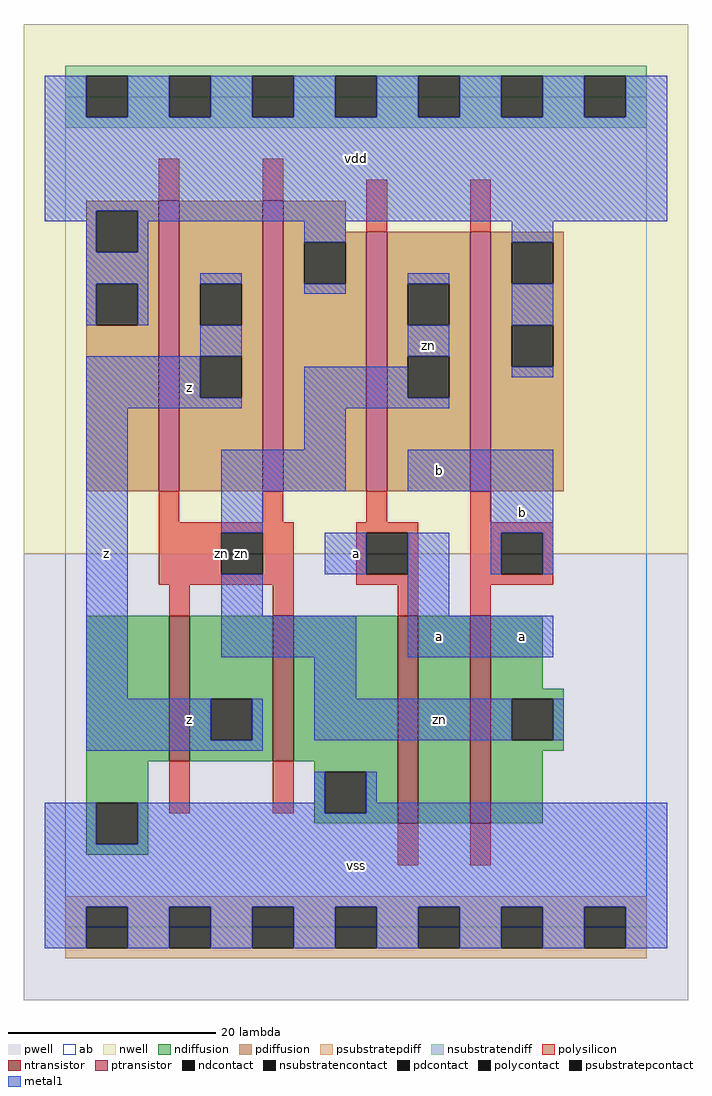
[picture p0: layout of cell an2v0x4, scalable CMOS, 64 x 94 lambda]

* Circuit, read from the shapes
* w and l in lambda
.subckt an2v0x4 a b vdd vss z zn
M1 z zn vss vss nfet w=14 l=2 m=2
M2 n1 a vss vss nfet w=20 l=2
M3 zn b n1 vss nfet w=20 l=2
M4 z zn vdd vdd pfet w=28 l=2 m=2
M5 zn a vdd vdd pfet w=25 l=2
M6 vdd b zn vdd pfet w=25 l=2
.ends

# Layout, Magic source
magic
tech scmos
<< ab >>
rect 0 0 56 80
<< pwell >>
rect -4 -7 60 36
<< nwell >>
rect -4 36 60 87
<< polysilicon >>
rect 9 70 11 74
rect 19 70 21 74
rect 29 67 31 72
rect 39 67 41 72
rect 9 39 11 42
rect 19 39 21 42
rect 29 39 31 42
rect 39 39 41 42
rect 9 38 22 39
rect 9 34 15 38
rect 19 34 22 38
rect 9 33 22 34
rect 28 38 34 39
rect 28 34 29 38
rect 33 34 34 38
rect 28 33 34 34
rect 10 30 12 33
rect 20 30 22 33
rect 32 30 34 33
rect 39 38 47 39
rect 39 34 42 38
rect 46 34 47 38
rect 39 33 47 34
rect 39 30 41 33
rect 10 11 12 16
rect 20 11 22 16
rect 32 6 34 10
rect 39 6 41 10
<< ndiffusion >>
rect 2 16 10 30
rect 12 22 20 30
rect 12 18 14 22
rect 18 18 20 22
rect 12 16 20 18
rect 22 16 32 30
rect 2 12 8 16
rect 2 8 3 12
rect 7 8 8 12
rect 24 15 32 16
rect 24 11 25 15
rect 29 11 32 15
rect 24 10 32 11
rect 34 10 39 30
rect 41 23 46 30
rect 41 22 48 23
rect 41 18 43 22
rect 47 18 48 22
rect 41 17 48 18
rect 41 10 46 17
rect 2 7 8 8
<< pdiffusion >>
rect 2 69 9 70
rect 2 65 3 69
rect 7 65 9 69
rect 2 62 9 65
rect 2 58 3 62
rect 7 58 9 62
rect 2 42 9 58
rect 11 62 19 70
rect 11 58 13 62
rect 17 58 19 62
rect 11 55 19 58
rect 11 51 13 55
rect 17 51 19 55
rect 11 42 19 51
rect 21 67 27 70
rect 21 66 29 67
rect 21 62 23 66
rect 27 62 29 66
rect 21 42 29 62
rect 31 62 39 67
rect 31 58 33 62
rect 37 58 39 62
rect 31 55 39 58
rect 31 51 33 55
rect 37 51 39 55
rect 31 42 39 51
rect 41 66 48 67
rect 41 62 43 66
rect 47 62 48 66
rect 41 58 48 62
rect 41 54 43 58
rect 47 54 48 58
rect 41 42 48 54
<< metal1 >>
rect -2 78 2 82
rect 6 78 10 82
rect 14 78 18 82
rect 22 78 26 82
rect 30 78 34 82
rect 38 78 42 82
rect 46 78 50 82
rect 54 78 58 82
rect -2 69 58 78
rect -2 68 3 69
rect 2 65 3 68
rect 7 68 58 69
rect 7 65 8 68
rect 2 62 8 65
rect 23 66 27 68
rect 2 58 3 62
rect 7 58 8 62
rect 13 62 17 63
rect 43 66 47 68
rect 23 61 27 62
rect 33 62 37 63
rect 13 55 17 58
rect 2 51 13 55
rect 33 55 37 58
rect 2 50 17 51
rect 23 51 33 54
rect 43 58 47 62
rect 43 53 47 54
rect 23 50 37 51
rect 2 22 6 50
rect 23 46 27 50
rect 15 42 27 46
rect 33 42 47 46
rect 15 38 19 42
rect 41 38 47 42
rect 25 34 29 38
rect 15 30 19 34
rect 33 30 37 38
rect 41 34 42 38
rect 46 34 47 38
rect 15 26 28 30
rect 33 26 47 30
rect 24 22 28 26
rect 2 18 14 22
rect 18 18 19 22
rect 24 18 43 22
rect 47 18 48 22
rect 2 17 19 18
rect 24 12 25 15
rect -2 8 3 12
rect 7 11 25 12
rect 29 12 30 15
rect 29 11 58 12
rect 7 8 58 11
rect -2 2 58 8
rect -2 -2 2 2
rect 6 -2 10 2
rect 14 -2 18 2
rect 22 -2 26 2
rect 30 -2 34 2
rect 38 -2 42 2
rect 46 -2 50 2
rect 54 -2 58 2
<< ntransistor >>
rect 10 16 12 30
rect 20 16 22 30
rect 32 10 34 30
rect 39 10 41 30
<< ptransistor >>
rect 9 42 11 70
rect 19 42 21 70
rect 29 42 31 67
rect 39 42 41 67
<< polycontact >>
rect 15 34 19 38
rect 29 34 33 38
rect 42 34 46 38
<< ndcontact >>
rect 14 18 18 22
rect 3 8 7 12
rect 25 11 29 15
rect 43 18 47 22
<< pdcontact >>
rect 3 65 7 69
rect 3 58 7 62
rect 13 58 17 62
rect 13 51 17 55
rect 23 62 27 66
rect 33 58 37 62
rect 33 51 37 55
rect 43 62 47 66
rect 43 54 47 58
<< psubstratepcontact >>
rect 2 -2 6 2
rect 10 -2 14 2
rect 18 -2 22 2
rect 26 -2 30 2
rect 34 -2 38 2
rect 42 -2 46 2
rect 50 -2 54 2
<< nsubstratencontact >>
rect 2 78 6 82
rect 10 78 14 82
rect 18 78 22 82
rect 26 78 30 82
rect 34 78 38 82
rect 42 78 46 82
rect 50 78 54 82
<< psubstratepdiff >>
rect 0 2 56 3
rect 0 -2 2 2
rect 6 -2 10 2
rect 14 -2 18 2
rect 22 -2 26 2
rect 30 -2 34 2
rect 38 -2 42 2
rect 46 -2 50 2
rect 54 -2 56 2
rect 0 -3 56 -2
<< nsubstratendiff >>
rect 0 82 56 83
rect 0 78 2 82
rect 6 78 10 82
rect 14 78 18 82
rect 22 78 26 82
rect 30 78 34 82
rect 38 78 42 82
rect 46 78 50 82
rect 54 78 56 82
rect 0 77 56 78
<< labels >>
rlabel polysilicon 15 36 15 36 6 zn
rlabel metal1 4 36 4 36 6 z
rlabel metal1 12 20 12 20 6 z
rlabel polycontact 17 36 17 36 6 zn
rlabel metal1 12 52 12 52 6 z
rlabel metal1 28 6 28 6 6 vss
rlabel metal1 28 36 28 36 6 a
rlabel metal1 36 28 36 28 6 a
rlabel metal1 36 44 36 44 6 b
rlabel metal1 35 56 35 56 6 zn
rlabel metal1 28 74 28 74 6 vdd
rlabel metal1 36 20 36 20 6 zn
rlabel metal1 44 28 44 28 6 a
rlabel metal1 44 40 44 40 6 b
<< end >>
